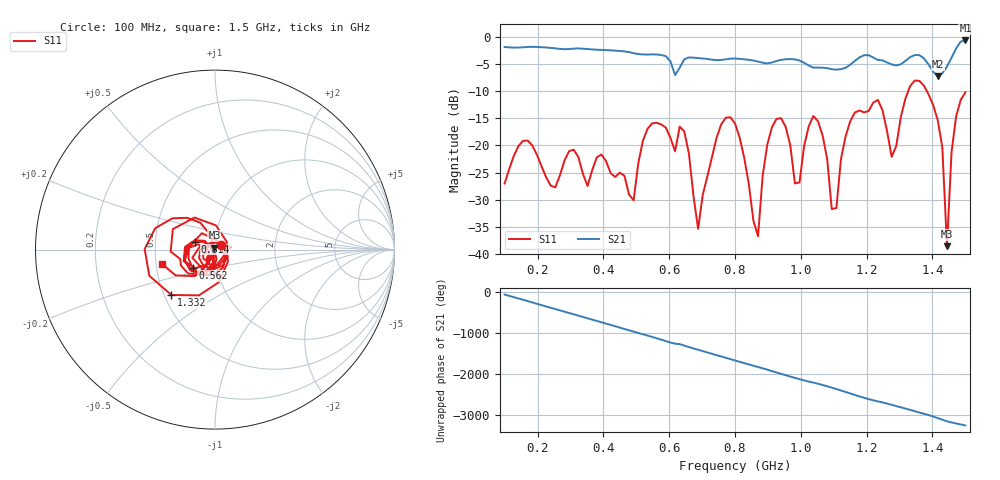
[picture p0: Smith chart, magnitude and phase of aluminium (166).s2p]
! NanoVNA-App
! Date: 2025-09-25 14:56:34
! Start: 100MHz Stop: 1,5GHz Points: 101
! S-Parameter data: F S11 S21 S12 S22
# Hz S RI R 50
!  Frequency  S11_Real  S11_Imag  S21_Real  S21_Imag  S12_Real  S12_Imag  S22_Real  S22_Imag
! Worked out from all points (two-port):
!   101 points, 100 MHz to 1.5 GHz, reference 50 ohm
!   highest |S21| = -0.72 dB at 1.5 GHz (marker M1); lowest = -7.3 dB at 1.416 GHz (marker M2)
!   |S21| within 3 dB of the highest: start of sweep to 591.6 MHz; 1.459 GHz to end of sweep (the widest 2 of 4)
!   lowest |S11| = -38.5 dB at 1.444 GHz (marker M3), VSWR 1.02, Z = 49.7 + j1.14 ohm
!   |S11| at or under -10 dB: start of sweep to 1.326 GHz; 1.383 GHz to end of sweep
!   S12 and S22 are empty: the file has one direction only
!   S11 on the Smith chart (normalised r, x): 100 MHz: 1.07, +0.06; 562 MHz: 0.76, -0.16; 814 MHz: 0.80, +0.07; 1.332 GHz: 0.55, -0.31; 1.5 GHz: 0.54, -0.09
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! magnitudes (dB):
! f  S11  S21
! 100 MHz  -27.0  -1.9
! 156 MHz  -19.2  -2.0
! 338 MHz  -25.2  -2.2
! 492 MHz  -30.1  -3.1
! 562 MHz  -15.8  -3.3
! 576 MHz  -16.1  -3.4
! 646 MHz  -17.5  -4.2
! 688 MHz  -35.3  -4.0
! 800 MHz  -16.0  -4.0
! 814 MHz  -18.5  -4.1
! 870 MHz  -36.7  -4.6
! 912 MHz  -16.7  -4.8
! 996 MHz  -26.8  -4.4
! 1.038 GHz  -14.6  -5.7
! 1.094 GHz  -31.7  -6.0
! 1.164 GHz  -14.0  -4.5
! 1.276 GHz  -22.1  -5.1
! 1.332 GHz  -9.1  -3.8
! 1.416 GHz  -15.4  -7.3
! 1.444 GHz  -38.5  -5.5
! 1.458 GHz  -21.2  -3.9
! 1.5 GHz  -10.3  -0.7
